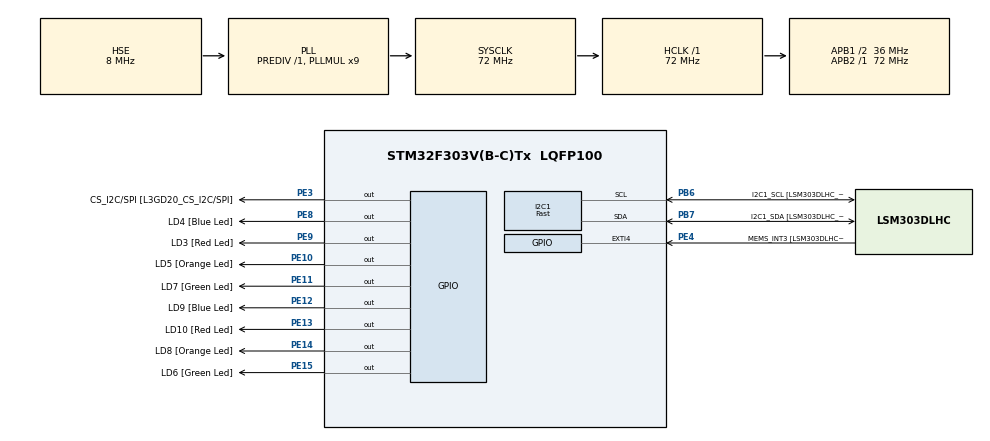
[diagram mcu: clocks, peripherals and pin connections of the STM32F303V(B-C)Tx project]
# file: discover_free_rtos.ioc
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FREERTOS.Tasks01=defaultTask,24,128,StartDefaultTask,Default,NULL,Dynamic,NULL,NULL
I2C1.I2C_Speed_Mode=I2C_Fast
I2C1.Timing=0x0010020A
Mcu.Family=STM32F3
Mcu.Name=STM32F303V(B-C)Tx
Mcu.Package=LQFP100
NVIC.EXTI4_IRQn=true\:5\:0\:true\:false\:true\:true\:true\:true\:true
NVIC.PriorityGroup=NVIC_PRIORITYGROUP_4
NVIC.TIM1_UP_TIM16_IRQn=true\:15\:0\:false\:false\:true\:false\:false\:true\:true
NVIC.TimeBase=TIM1_UP_TIM16_IRQn
NVIC.TimeBaseIP=TIM1
PA13.GPIO_Label=SWDIO
PA13.Signal=SYS_JTMS-SWDIO
PA14.GPIO_Label=SWCLK
PA14.Signal=SYS_JTCK-SWCLK
PB3.GPIO_Label=SWO
PB3.Signal=SYS_JTDO-TRACESWO
PB6.GPIO_FM6=__NULL
PB6.GPIO_Label=I2C1_SCL [LSM303DLHC_SCL]
PB6.GPIO_Mode=GPIO_MODE_AF_OD
PB6.GPIO_PuPd=GPIO_NOPULL
PB6.GPIO_Speed=GPIO_SPEED_FREQ_LOW
PB6.Mode=I2C
PB6.Signal=I2C1_SCL
PB7.GPIO_FM7=__NULL
PB7.GPIO_Label=I2C1_SDA [LSM303DLHC_SDA]
PB7.GPIO_Mode=GPIO_MODE_AF_OD
PB7.GPIO_PuPd=GPIO_NOPULL
PB7.GPIO_Speed=GPIO_SPEED_FREQ_LOW
PB7.Mode=I2C
PB7.Signal=I2C1_SDA
PC14-OSC32_IN.GPIO_Label=OSC32_IN
PC14-OSC32_IN.Signal=RCC_OSC32_IN
PC15-OSC32_OUT.GPIO_Label=OSC32_OUT
PC15-OSC32_OUT.Signal=RCC_OSC32_OUT
PE10.GPIO_Label=LD5 [Orange Led]
PE10.GPIO_ModeDefaultOutputPP=GPIO_MODE_OUTPUT_PP
PE10.GPIO_PuPd=GPIO_NOPULL
PE10.GPIO_Speed=GPIO_SPEED_FREQ_LOW
PE10.Signal=GPIO_Output
PE11.GPIO_Label=LD7 [Green Led]
PE11.GPIO_ModeDefaultOutputPP=GPIO_MODE_OUTPUT_PP
PE11.GPIO_PuPd=GPIO_NOPULL
PE11.GPIO_Speed=GPIO_SPEED_FREQ_LOW
PE11.Signal=GPIO_Output
PE12.GPIO_Label=LD9 [Blue Led]
PE12.GPIO_ModeDefaultOutputPP=GPIO_MODE_OUTPUT_PP
PE12.GPIO_PuPd=GPIO_NOPULL
PE12.GPIO_Speed=GPIO_SPEED_FREQ_LOW
PE12.Signal=GPIO_Output
PE13.GPIO_Label=LD10 [Red Led]
PE13.GPIO_ModeDefaultOutputPP=GPIO_MODE_OUTPUT_PP
PE13.GPIO_PuPd=GPIO_NOPULL
PE13.GPIO_Speed=GPIO_SPEED_FREQ_LOW
PE13.Signal=GPIO_Output
PE14.GPIO_Label=LD8 [Orange Led]
PE14.GPIO_ModeDefaultOutputPP=GPIO_MODE_OUTPUT_PP
PE14.GPIO_PuPd=GPIO_NOPULL
PE14.GPIO_Speed=GPIO_SPEED_FREQ_LOW
PE14.Signal=GPIO_Output
PE15.GPIO_Label=LD6 [Green Led]
PE15.GPIO_ModeDefaultOutputPP=GPIO_MODE_OUTPUT_PP
PE15.GPIO_PuPd=GPIO_NOPULL
PE15.GPIO_Speed=GPIO_SPEED_FREQ_LOW
PE15.Signal=GPIO_Output
PE3.GPIO_Label=CS_I2C/SPI [L3GD20_CS_I2C/SPI]
PE3.GPIO_ModeDefaultOutputPP=GPIO_MODE_OUTPUT_PP
PE3.GPIO_PuPd=GPIO_NOPULL
PE3.GPIO_Speed=GPIO_SPEED_FREQ_LOW
PE3.Signal=GPIO_Output
PE4.GPIO_Label=MEMS_INT3 [LSM303DLHC_INT1]
PE4.GPIO_ModeDefaultEXTI=GPIO_MODE_IT_RISING
PE4.GPIO_PuPd=GPIO_NOPULL
PE4.Signal=GPXTI4
PE8.GPIO_Label=LD4 [Blue Led]
PE8.GPIO_ModeDefaultOutputPP=GPIO_MODE_OUTPUT_PP
PE8.GPIO_PuPd=GPIO_NOPULL
PE8.GPIO_Speed=GPIO_SPEED_FREQ_LOW
PE8.Signal=GPIO_Output
PE9.GPIO_Label=LD3 [Red Led]
PE9.GPIO_ModeDefaultOutputPP=GPIO_MODE_OUTPUT_PP
PE9.GPIO_PuPd=GPIO_NOPULL
PE9.GPIO_Speed=GPIO_SPEED_FREQ_LOW
PE9.Signal=GPIO_Output
PF0-OSC_IN.GPIO_Label=OSC_IN
PF0-OSC_IN.Mode=HSE-External-Oscillator
PF0-OSC_IN.Signal=RCC_OSC_IN
PF1-OSC_OUT.GPIO_Label=OSC_OUT
PF1-OSC_OUT.Mode=HSE-External-Oscillator
PF1-OSC_OUT.Signal=RCC_OSC_OUT
ProjectManager.HeapSize=0x200
ProjectManager.StackSize=0x400
ProjectManager.TargetToolchain=CMake
RCC.AHBFreq_Value=72000000
RCC.APB1CLKDivider=RCC_HCLK_DIV2
RCC.APB1Freq_Value=36000000
RCC.APB1TimFreq_Value=72000000
RCC.APB2Freq_Value=72000000
RCC.APB2TimFreq_Value=72000000
RCC.CortexFreq_Value=72000000
RCC.HCLKFreq_Value=72000000
RCC.HSE_VALUE=8000000
RCC.HSI_VALUE=8000000
RCC.LSE_VALUE=32768
RCC.PLLMUL=RCC_PLL_MUL9
RCC.PLLSourceVirtual=RCC_PLLSOURCE_HSE
RCC.SYSCLKFreq_VALUE=72000000
RCC.SYSCLKSourceVirtual=RCC_SYSCLKSOURCE_PLLCLK
RCC.USBFreq_Value=72000000
VP_FREERTOS_VS_CMSIS_V2.Mode=CMSIS_V2
VP_SYS_VS_tim1.Mode=TIM1
board=STM32F3DISCOVERY

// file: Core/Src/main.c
/* USER CODE BEGIN Header */
/**
  ******************************************************************************
  * @file           : main.c
  * @brief          : Main program body
  ******************************************************************************
  * @attention
  *
  * Copyright (c) 2026 STMicroelectronics.
  * All rights reserved.
  *
  * This software is licensed under terms that can be found in the LICENSE file
  * in the root directory of this software component.
  * If no LICENSE file comes with this software, it is provided AS-IS.
  *
  ******************************************************************************
  */
/* USER CODE END Header */
#include "main.h"
#include "cmsis_os.h"

/* USER CODE BEGIN Includes */
#include "lsm303dlhc.h"
/* USER CODE END Includes */

I2C_HandleTypeDef hi2c1;

/* Definitions for defaultTask */
osThreadId_t defaultTaskHandle;
const osThreadAttr_t defaultTask_attributes = {
  .name = "defaultTask",
  .stack_size = 128 * 4,
  .priority = (osPriority_t) osPriorityNormal,
};

void SystemClock_Config(void);
static void MX_GPIO_Init(void);
static void MX_I2C1_Init(void);
void StartDefaultTask(void *argument);

int main(void)
{

  /* MCU Configuration--------------------------------------------------------*/

  /* Reset of all peripherals, Initializes the Flash interface and the Systick. */
  HAL_Init();

  /* Configure the system clock */
  SystemClock_Config();

  /* Initialize all configured peripherals */
  MX_GPIO_Init();
  MX_I2C1_Init();
  /* USER CODE BEGIN 2 */

  /* Initialize LSM303DLHC accelerometer for 100Hz sampling */
  uint16_t accel_init = (LSM303DLHC_HR_ENABLE | LSM303DLHC_FULLSCALE_2G) << 8 |
                        LSM303DLHC_ODR_100_HZ | LSM303DLHC_AXES_ENABLE;
  LSM303DLHC_AccInit(accel_init);

  /* Configure INT1 for data ready interrupt */
  LSM303DLHC_AccIT1Enable(LSM303DLHC_IT1_DRY1);

  /* USER CODE END 2 */

  /* Init scheduler */
  osKernelInitialize();

  /* Create the thread(s) */
  /* creation of defaultTask */
  defaultTaskHandle = osThreadNew(StartDefaultTask, NULL, &defaultTask_attributes);

  /* Start scheduler */
  osKernelStart();

  /* We should never get here as control is now taken by the scheduler */

  /* Infinite loop */
  while (1)
  {

  }
}

void SystemClock_Config(void)
{
  RCC_OscInitTypeDef RCC_OscInitStruct = {0};
  RCC_ClkInitTypeDef RCC_ClkInitStruct = {0};
  RCC_PeriphCLKInitTypeDef PeriphClkInit = {0};

  /** Initializes the RCC Oscillators according to the specified parameters
  * in the RCC_OscInitTypeDef structure.
  */
  RCC_OscInitStruct.OscillatorType = RCC_OSCILLATORTYPE_HSI|RCC_OSCILLATORTYPE_HSE;
  RCC_OscInitStruct.HSEState = RCC_HSE_ON;
  RCC_OscInitStruct.HSEPredivValue = RCC_HSE_PREDIV_DIV1;
  RCC_OscInitStruct.HSIState = RCC_HSI_ON;
  RCC_OscInitStruct.HSICalibrationValue = RCC_HSICALIBRATION_DEFAULT;
  RCC_OscInitStruct.PLL.PLLState = RCC_PLL_ON;
  RCC_OscInitStruct.PLL.PLLSource = RCC_PLLSOURCE_HSE;
  RCC_OscInitStruct.PLL.PLLMUL = RCC_PLL_MUL9;
  if (HAL_RCC_OscConfig(&RCC_OscInitStruct) != HAL_OK)
  {
    Error_Handler();
  }

  /** Initializes the CPU, AHB and APB buses clocks
  */
  RCC_ClkInitStruct.ClockType = RCC_CLOCKTYPE_HCLK|RCC_CLOCKTYPE_SYSCLK
                              |RCC_CLOCKTYPE_PCLK1|RCC_CLOCKTYPE_PCLK2;
  RCC_ClkInitStruct.SYSCLKSource = RCC_SYSCLKSOURCE_PLLCLK;
  RCC_ClkInitStruct.AHBCLKDivider = RCC_SYSCLK_DIV1;
  RCC_ClkInitStruct.APB1CLKDivider = RCC_HCLK_DIV2;
  RCC_ClkInitStruct.APB2CLKDivider = RCC_HCLK_DIV1;

  if (HAL_RCC_ClockConfig(&RCC_ClkInitStruct, FLASH_LATENCY_2) != HAL_OK)
  {
    Error_Handler();
  }
  PeriphClkInit.PeriphClockSelection = RCC_PERIPHCLK_I2C1;
  PeriphClkInit.I2c1ClockSelection = RCC_I2C1CLKSOURCE_HSI;
  if (HAL_RCCEx_PeriphCLKConfig(&PeriphClkInit) != HAL_OK)
  {
    Error_Handler();
  }
}

static void MX_I2C1_Init(void)
{

  hi2c1.Instance = I2C1;
  hi2c1.Init.Timing = 0x0010020A;
  hi2c1.Init.OwnAddress1 = 0;
  hi2c1.Init.AddressingMode = I2C_ADDRESSINGMODE_7BIT;
  hi2c1.Init.DualAddressMode = I2C_DUALADDRESS_DISABLE;
  hi2c1.Init.OwnAddress2 = 0;
  hi2c1.Init.OwnAddress2Masks = I2C_OA2_NOMASK;
  hi2c1.Init.GeneralCallMode = I2C_GENERALCALL_DISABLE;
  hi2c1.Init.NoStretchMode = I2C_NOSTRETCH_DISABLE;
  if (HAL_I2C_Init(&hi2c1) != HAL_OK)
  {
    Error_Handler();
  }

  /** Configure Analogue filter
  */
  if (HAL_I2CEx_ConfigAnalogFilter(&hi2c1, I2C_ANALOGFILTER_ENABLE) != HAL_OK)
  {
    Error_Handler();
  }

  /** Configure Digital filter
  */
  if (HAL_I2CEx_ConfigDigitalFilter(&hi2c1, 0) != HAL_OK)
  {
    Error_Handler();
  }

}

static void MX_GPIO_Init(void)
{
  GPIO_InitTypeDef GPIO_InitStruct = {0};

  /* GPIO Ports Clock Enable */
  __HAL_RCC_GPIOE_CLK_ENABLE();
  __HAL_RCC_GPIOC_CLK_ENABLE();
  __HAL_RCC_GPIOF_CLK_ENABLE();
  __HAL_RCC_GPIOA_CLK_ENABLE();
  __HAL_RCC_GPIOB_CLK_ENABLE();

  /*Configure GPIO pin Output Level */
  HAL_GPIO_WritePin(GPIOE, CS_I2C_SPI_Pin|LD4_Pin|LD3_Pin|LD5_Pin
                          |LD7_Pin|LD9_Pin|LD10_Pin|LD8_Pin
                          |LD6_Pin, GPIO_PIN_RESET);

  /*Configure GPIO pins : CS_I2C_SPI_Pin LD4_Pin LD3_Pin LD5_Pin
                           LD7_Pin LD9_Pin LD10_Pin LD8_Pin
                           LD6_Pin */
  GPIO_InitStruct.Pin = CS_I2C_SPI_Pin|LD4_Pin|LD3_Pin|LD5_Pin
                          |LD7_Pin|LD9_Pin|LD10_Pin|LD8_Pin
                          |LD6_Pin;
  GPIO_InitStruct.Mode = GPIO_MODE_OUTPUT_PP;
  GPIO_InitStruct.Pull = GPIO_NOPULL;
  GPIO_InitStruct.Speed = GPIO_SPEED_FREQ_LOW;
  HAL_GPIO_Init(GPIOE, &GPIO_InitStruct);

  /*Configure GPIO pin : MEMS_INT3_Pin */
  GPIO_InitStruct.Pin = MEMS_INT3_Pin;
  GPIO_InitStruct.Mode = GPIO_MODE_IT_RISING;
  GPIO_InitStruct.Pull = GPIO_NOPULL;
  HAL_GPIO_Init(MEMS_INT3_GPIO_Port, &GPIO_InitStruct);

  /* EXTI interrupt init*/
  HAL_NVIC_SetPriority(EXTI4_IRQn, 5, 0);
  HAL_NVIC_EnableIRQ(EXTI4_IRQn);

}

void StartDefaultTask(void *argument)
{
  for(;;)
  {
    osDelay(1);
  }
}

void HAL_TIM_PeriodElapsedCallback(TIM_HandleTypeDef *htim)
{
  if (htim->Instance == TIM1)
  {
    HAL_IncTick();
  }
}

void Error_Handler(void)
{
  __disable_irq();
  while (1)
  {
  }
}

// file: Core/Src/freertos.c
/* USER CODE BEGIN Header */
/**
  ******************************************************************************
  * File Name          : freertos.c
  * Description        : Code for freertos applications
  ******************************************************************************
  * @attention
  *
  * Copyright (c) 2026 STMicroelectronics.
  * All rights reserved.
  *
  * This software is licensed under terms that can be found in the LICENSE file
  * in the root directory of this software component.
  * If no LICENSE file comes with this software, it is provided AS-IS.
  *
  ******************************************************************************
  */
/* USER CODE END Header */

#include "FreeRTOS.h"
#include "task.h"
#include "main.h"

/* USER CODE BEGIN Includes */
#include "queue.h"
#include "lsm303dlhc.h"
/* USER CODE END Includes */

/* USER CODE BEGIN PTD */
typedef struct {
    int16_t x;
    int16_t y;
    int16_t z;
} AccelData_t;
/* USER CODE END PTD */

/* USER CODE BEGIN PD */
#define ACCEL_QUEUE_LEN   1 // Only want this as 1 to ensure the realtimedness of the system
#define TILT_THRESHOLD    200
/* USER CODE END PD */

/* USER CODE BEGIN Variables */
static QueueHandle_t xAccelQueue;
static TaskHandle_t xAccelTaskHandle = NULL;
/* USER CODE END Variables */

/* USER CODE BEGIN Application */
static void vAccelReadTask(void *pvParameters)
{
    int16_t raw[3];
    AccelData_t data;

    for (;;)
    {
        /* block until the DRDY interrupt fires */
        ulTaskNotifyTake(pdTRUE, portMAX_DELAY);

        LSM303DLHC_AccReadXYZ(raw);
        data.x = raw[0];
        data.y = raw[1];
        data.z = raw[2];

        xQueueSend(xAccelQueue, &data, 0);
    }
}

static void vLedTask(void *pvParameters)
{
    static const uint16_t led_pins[8] = {
        LD3_Pin,   /* N  - PE9  */
        LD5_Pin,   /* NE - PE10 */
        LD7_Pin,   /* E  - PE11 */
        LD9_Pin,   /* SE - PE12 */
        LD10_Pin,  /* S  - PE13 */
        LD8_Pin,   /* SW - PE14 */
        LD6_Pin,   /* W  - PE15 */
        LD4_Pin,   /* NW - PE8  */
    };
    static const uint16_t all_leds =
        LD3_Pin | LD4_Pin | LD5_Pin | LD6_Pin |
        LD7_Pin | LD8_Pin | LD9_Pin | LD10_Pin;

    AccelData_t data;

    for (;;)
    {
        if (xQueueReceive(xAccelQueue, &data, portMAX_DELAY) != pdTRUE)
            continue;

        HAL_GPIO_WritePin(GPIOE, all_leds, GPIO_PIN_RESET);

        int16_t ax   = data.x;
        int16_t ay   = data.y;
        int16_t absx = ax < 0 ? -ax : ax;
        int16_t absy = ay < 0 ? -ay : ay;
        int16_t mag  = absx > absy ? absx : absy;

        if (mag < TILT_THRESHOLD)
            continue;

        int sector;
        if      (absx <= absy / 2 && ay > 0) sector = 0; /* N  */
        else if (absy <= absx / 2 && ax > 0) sector = 2; /* E  */
        else if (absx <= absy / 2 && ay < 0) sector = 4; /* S  */
        else if (absy <= absx / 2 && ax < 0) sector = 6; /* W  */
        else if (ax > 0 && ay > 0)           sector = 1; /* NE */
        else if (ax > 0 && ay < 0)           sector = 3; /* SE */
        else if (ax < 0 && ay < 0)           sector = 5; /* SW */
        else                                 sector = 7; /* NW */

        HAL_GPIO_WritePin(GPIOE, led_pins[sector], GPIO_PIN_SET);
    }
}

void HAL_GPIO_EXTI_Callback(uint16_t GPIO_Pin)
{
    if (GPIO_Pin == MEMS_INT3_Pin)
    {
        BaseType_t xHigherPriorityTaskWoken = pdFALSE;
        vTaskNotifyGiveFromISR(xAccelTaskHandle, &xHigherPriorityTaskWoken);
        portYIELD_FROM_ISR(xHigherPriorityTaskWoken);
    }
}

void vStartFreeRTOSTasks(void)
{
    xAccelQueue = xQueueCreate(ACCEL_QUEUE_LEN, sizeof(AccelData_t));
    xTaskCreate(vAccelReadTask, "AccelRead", 128, NULL, 2, &xAccelTaskHandle);
    xTaskCreate(vLedTask,       "LedTask",   128, NULL, 1, NULL);
}

/* USER CODE END Application */
